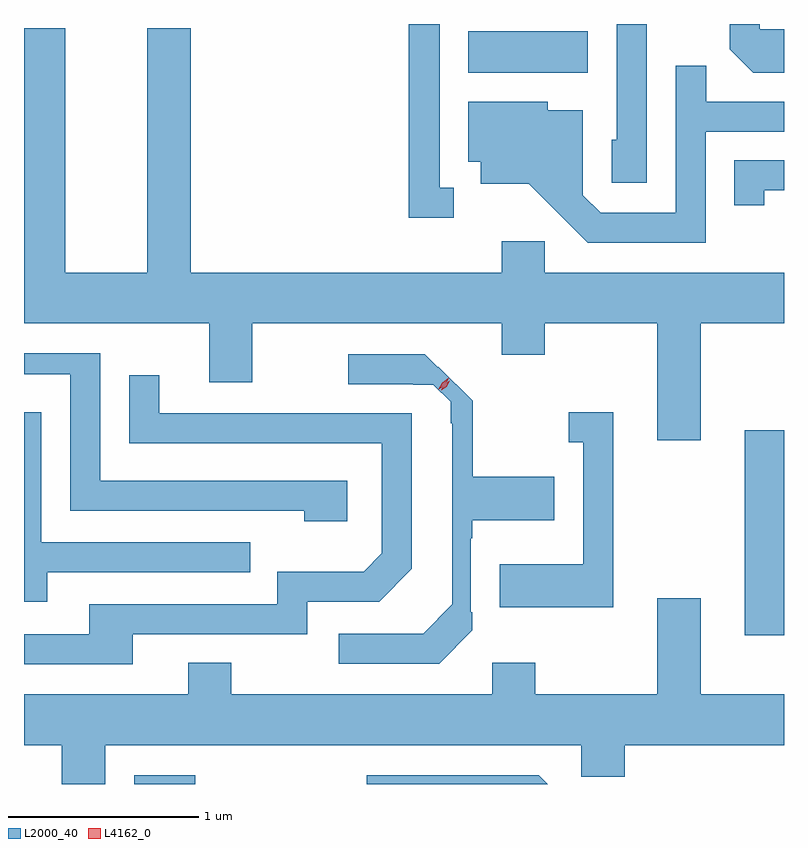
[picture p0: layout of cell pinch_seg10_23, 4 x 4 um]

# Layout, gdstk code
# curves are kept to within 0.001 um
import gdstk
lib = gdstk.Library(unit=1e-6, precision=1e-09)
def R(c, l, rs):  # rectangles x0, y0, x1, y1
    for r in rs: c.add(gdstk.rectangle(r[:2], r[2:], *l))
def P(c, l, *ps):  # polygons
    for p in ps: c.add(gdstk.Polygon(p, *l))
L2000_40 = (2000, 40)
L4162_0 = (4162, 0)

pinch_seg10_23 = lib.new_cell('pinch_seg10_23')
R(pinch_seg10_23, L2000_40, [(596.456,2173.652,596.778,2173.699), (599.671,2174.436,599.877,2175.514), (598.216,2177.396,598.844,2177.614)])
P(pinch_seg10_23, L2000_40, [(599.154,2177.652),(598.996,2177.652),(598.996,2177.044),(598.971,2177.044),(598.971,2176.816),(599.154,2176.816)],
  [(598.138,2176.789),(598.064,2176.789),(598.064,2177.652),(597.901,2177.652),(597.901,2176.631),(598.138,2176.631)],
  [(599.877,2177.624),(599.749,2177.624),(599.749,2177.652),(599.591,2177.652),(599.591,2177.519),(599.714,2177.396),(599.877,2177.396)],
  [(599.439,2176.076),(599.877,2176.076),(599.877,2176.344),(598.619,2176.344),(598.619,2176.509),(598.391,2176.509),(598.391,2176.344),(596.754,2176.344),(596.754,2177.629),(596.526,2177.629),(596.526,2176.344),(596.094,2176.344),(596.094,2177.629),(595.877,2177.629),(595.877,2176.076),(596.851,2176.076),(596.851,2175.766),(597.079,2175.766),(597.079,2176.076),(598.391,2176.076),(598.391,2175.911),(598.619,2175.911),(598.619,2176.076),(599.211,2176.076),(599.211,2175.461),(599.439,2175.461)],
  [(599.464,2177.086),(599.877,2177.086),(599.877,2177.244),(599.469,2177.244),(599.469,2177.433),(599.306,2177.433),(599.306,2176.659),(598.912,2176.659),(598.819,2176.752),(598.819,2177.199),(598.634,2177.199),(598.634,2177.244),(598.216,2177.244),(598.216,2176.926),(598.281,2176.926),(598.281,2176.811),(598.534,2176.811),(598.844,2176.501),(599.464,2176.501)],
  [(599.774,2176.776),(599.877,2176.776),(599.877,2176.934),(599.616,2176.934),(599.616,2176.698),(599.774,2176.698)],
  [(597.579,2175.249),(596.279,2175.249),(596.279,2175.919),(595.877,2175.919),(595.877,2175.809),(596.121,2175.809),(596.121,2175.091),(597.351,2175.091),(597.351,2175.036),(597.579,2175.036)],
  [(598.236,2174.46),(598.236,2174.555),(598.228,2174.555),(598.228,2174.945),(598.236,2174.945),(598.236,2175.041),(598.669,2175.041),(598.669,2175.269),(598.238,2175.269),(598.238,2175.668),(598.057,2175.849),(598.055,2175.846),(597.987,2175.914),(597.583,2175.914),(597.583,2175.756),(597.926,2175.756),(597.926,2175.754),(598.032,2175.754),(598.123,2175.664),(598.123,2175.551),(598.132,2175.551),(598.132,2174.599),(597.979,2174.444),(597.533,2174.444),(597.533,2174.286),(598.062,2174.286)],
  [(596.449,2174.441),(597.369,2174.441),(597.369,2174.611),(597.747,2174.611),(597.919,2174.784),(597.919,2175.604),(596.589,2175.604),(596.589,2175.803),(596.431,2175.803),(596.431,2175.446),(597.761,2175.446),(597.761,2174.867),(597.664,2174.769),(597.211,2174.769),(597.211,2174.599),(596.221,2174.599),(596.221,2174.439),(595.877,2174.439),(595.877,2174.281),(596.449,2174.281)],
  [(598.979,2175.609),(598.743,2175.609),(598.743,2175.451),(598.821,2175.451),(598.821,2174.809),(598.381,2174.809),(598.381,2174.581),(598.979,2174.581)],
  [(595.999,2174.766),(597.068,2174.766),(597.068,2174.924),(595.969,2174.924),(595.969,2175.609),(595.877,2175.609),(595.877,2174.611),(595.999,2174.611)],
  [(598.811,2173.691),(599.039,2173.691),(599.039,2173.856),(599.877,2173.856),(599.877,2174.124),(599.439,2174.124),(599.439,2174.629),(599.211,2174.629),(599.211,2174.124),(598.569,2174.124),(598.569,2174.289),(598.341,2174.289),(598.341,2174.124),(596.969,2174.124),(596.969,2174.289),(596.741,2174.289),(596.741,2174.124),(595.877,2174.124),(595.877,2173.856),(596.076,2173.856),(596.076,2173.652),(596.304,2173.652),(596.304,2173.856),(598.811,2173.856)],
  [(598.587,2173.699),(597.681,2173.699),(597.681,2173.652),(598.634,2173.652)])
P(pinch_seg10_23, L4162_0, [(598.072,2175.724),(598.072,2175.724),(598.087,2175.756),(598.117,2175.775),(598.118,2175.775),(598.118,2175.774),(598.102,2175.742),(598.072,2175.724)],
  [(598.057,2175.727),(598.057,2175.728),(598.077,2175.765),(598.112,2175.789),(598.112,2175.789),(598.112,2175.788),(598.092,2175.751),(598.058,2175.727)])

lib.write_gds('pinch_seg10_23.gds')
